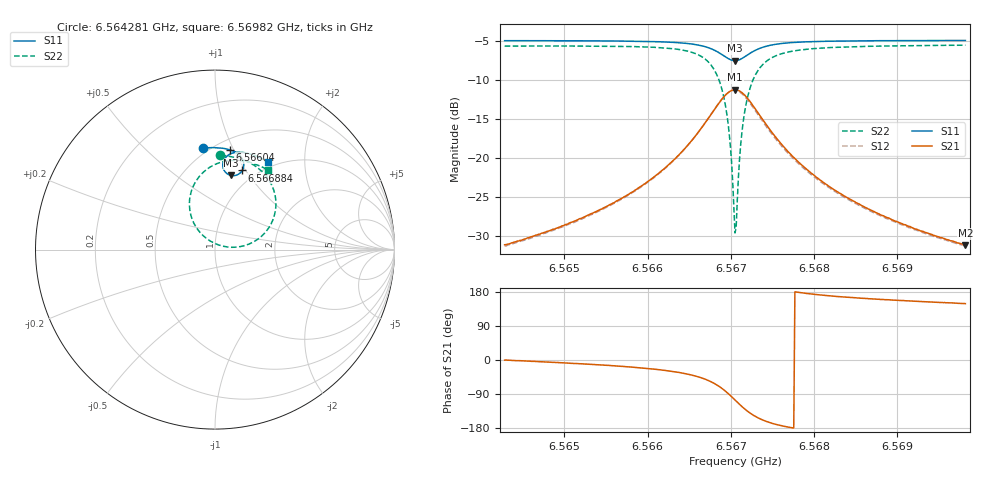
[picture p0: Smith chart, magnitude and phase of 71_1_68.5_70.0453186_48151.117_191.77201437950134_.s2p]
#  HZ  S  RI  R  50.00
! Rohde & Schwarz Vector Network Analyzer
! Rohde-Schwarz,ZNB20-2Port,1311601062101988,3.16
! Created: UTC 3/20/2024, 5:06:53 PM
! freq[Hz]  re:S11  im:S11  re:S21  im:S21  re:S12  im:S12  re:S22  im:S22
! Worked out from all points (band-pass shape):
!   401 points, 6.564281 GHz to 6.56982 GHz, reference 50 ohm
!   highest |S21| = -11.22 dB at 6.56705 GHz (marker M1); lowest = -31.3 dB at 6.56982 GHz (marker M2)
!   |S21| within 3 dB of the highest: 6.566774 GHz to 6.567328 GHz (554.5 kHz wide, 0.00844 % of centre)
!   lowest |S11| = -7.5 dB at 6.56705 GHz (marker M3), VSWR 2.46, Z = 41.1 + j41.3 ohm
!   |S11| at or under -10 dB: nowhere
!   |S22| runs from -29.7 to -5.5 dB; largest |S21 - S12| = 0.013
!   S11 on the Smith chart (normalised r, x): 6.564281 GHz: 0.46, +0.77; 6.56604 GHz: 0.60, +0.97; 6.566884 GHz: 0.86, +0.97; 6.56982 GHz: 0.92, +1.33
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6.564281e9  -0.0687 0.5648  0.0276 -0.000144  0.027 -0.000576  0.0306 0.5245
6.5652087e9  0.00701 0.5678  0.0403 -0.00709  0.0396 -0.0078  0.1178 0.5122
6.5660396e9  0.0836 0.5557  0.0669 -0.0287  0.0658 -0.0296  0.2227 0.4667
6.5661365e9  0.0939 0.5522  0.0721 -0.0344  0.071 -0.0354  0.2389 0.4551
6.566455e9  0.1301 0.5319  0.0937 -0.0684  0.0922 -0.0697  0.3005 0.388
6.5666627e9  0.1538 0.5026  0.1064 -0.1193  0.104 -0.1216  0.3369 0.2898
6.5667873e9  0.1605 0.4719  0.0991 -0.1729  0.095 -0.176  0.3299 0.1878
6.5668842e9  0.1521 0.441  0.0672 -0.2258  0.0599 -0.2287  0.2735 0.0885
6.5669673e9  0.1273 0.418  0.008 -0.2631  -0.00251 -0.263  0.1653 0.0224
6.566995e9  0.1156 0.4136  -0.018 -0.2687  -0.0291 -0.2672  0.1179 0.0138
6.5670365e9  0.096 0.4121  -0.0596 -0.2679  -0.0709 -0.2633  0.044 0.0191
6.5670504e9  0.0894 0.4132  -0.0735 -0.2649  -0.0846 -0.2594  0.02 0.0261
6.5670642e9  0.083 0.415  -0.0869 -0.2603  -0.0977 -0.2538  -0.00342 0.0355
6.5670781e9  0.0768 0.4174  -0.1 -0.2547  -0.1102 -0.2472  -0.0254 0.0471
6.5671196e9  0.0609 0.4286  -0.1335 -0.231  -0.1417 -0.2215  -0.0811 0.0928
6.5671611e9  0.0499 0.4433  -0.1578 -0.201  -0.1632 -0.1905  -0.1184 0.1484
6.5672165e9  0.0436 0.4645  -0.1748 -0.1589  -0.1768 -0.1484  -0.1407 0.2241
6.5672858e9  0.0456 0.4884  -0.1774 -0.1125  -0.1767 -0.1032  -0.137 0.3053
6.567535e9  0.0839 0.5324  -0.1346 -0.0248  -0.1317 -0.0209  -0.0399 0.4514
6.5679781e9  0.1446 0.5422  -0.0786 0.00839  -0.0766 0.00954  0.089 0.4972
6.5689058e9  0.23 0.5207  -0.0381 0.0148  -0.037 0.0151  0.2187 0.4785
6.5698197e9  0.2969 0.4876  -0.0234 0.0142  -0.0229 0.0143  0.2972 0.4412
